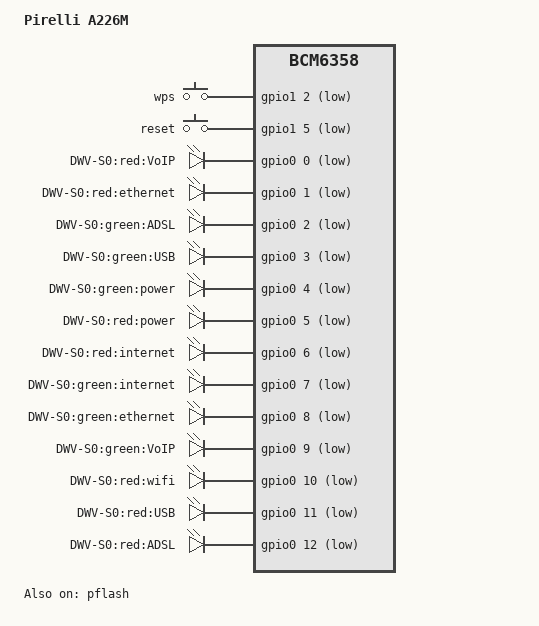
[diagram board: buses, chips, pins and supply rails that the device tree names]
/dts-v1/;

/include/ "bcm6358.dtsi"

/ {
	model = "Pirelli A226M";
	compatible = "pirelli,a226m", "brcm,bcm6358";

	gpio-keys-polled {
		compatible = "gpio-keys-polled";
		#address-cells = <1>;
		#size-cells = <0>;
		poll-interval = <20>;
		debounce-interval = <60>;

		wps {
			label = "wps";
			gpios = <&gpio1 2 1>;
			linux,code = <0x211>;
		};
		reset {
			label = "reset";
			gpios = <&gpio1 5 1>;
			linux,code = <0x198>;
		};
	};

	gpio-leds {
		compatible = "gpio-leds";

		voip_red {
			label = "DWV-S0:red:VoIP";
			gpios = <&gpio0 0 1>;
		};
		eth_red {
			label = "DWV-S0:red:ethernet";
			gpios = <&gpio0 1 1>;
		};
		dsl_green {
			label = "DWV-S0:green:ADSL";
			gpios = <&gpio0 2 1>;
		};
		usb_green {
			label = "DWV-S0:green:USB";
			gpios = <&gpio0 3 1>;
		};
		power_green {
			label = "DWV-S0:green:power";
			gpios = <&gpio0 4 1>;
			default-state = "on";
		};
		power_red {
			label = "DWV-S0:red:power";
			gpios = <&gpio0 5 1>;
		};
		inet_red {
			label = "DWV-S0:red:internet";
			gpios = <&gpio0 6 1>;
		};
		inet_green {
			label = "DWV-S0:green:internet";
			gpios = <&gpio0 7 1>;
		};
		eth_green {
			label = "DWV-S0:green:ethernet";
			gpios = <&gpio0 8 1>;
		};
		voip_green {
			label = "DWV-S0:green:VoIP";
			gpios = <&gpio0 9 1>;
		};
		wifi_red {
			label = "DWV-S0:red:wifi";
			gpios = <&gpio0 10 1>;
		};
		usb_red {
			label = "DWV-S0:red:USB";
			gpios = <&gpio0 11 1>;
		};
		dsl_red {
			label = "DWV-S0:red:ADSL";
			gpios = <&gpio0 12 1>;
		};
	};
};

&pflash {
	status = "ok";

	linux,part-probe = "bcm63xxpart";

	cfe@0 {
		label = "CFE";
		reg = <0x000000 0x010000>;
		read-only;
	};

	linux@10000 {
		label = "linux";
		reg = <0x010000 0x7e0000>;
	};

	nvram@7f0000 {
		label = "nvram";
		reg = <0x7f0000 0x010000>;
	};
};
